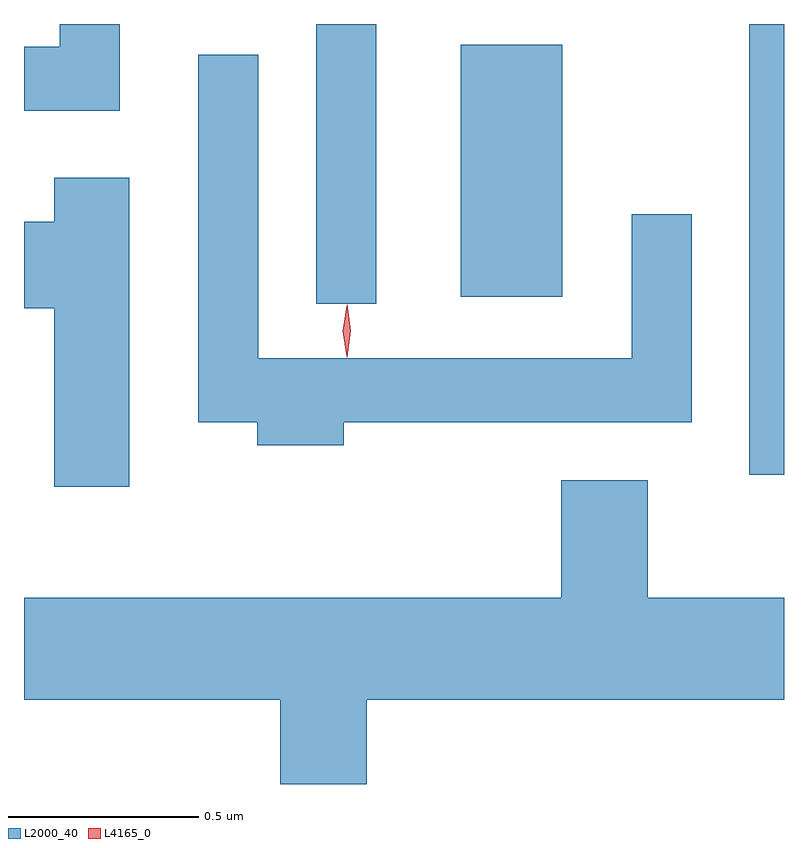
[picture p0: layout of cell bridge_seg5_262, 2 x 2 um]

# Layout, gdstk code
import gdstk
lib = gdstk.Library(unit=1e-6, precision=1e-09)
def R(c, l, rs):  # rectangles x0, y0, x1, y1
    for r in rs: c.add(gdstk.rectangle(r[:2], r[2:], *l))
def P(c, l, *ps):  # polygons
    for p in ps: c.add(gdstk.Polygon(p, *l))
L2000_40 = (2000, 40)
L4165_0 = (4165, 0)

bridge_seg5_262 = lib.new_cell('bridge_seg5_262')
R(bridge_seg5_262, L2000_40, [(1337.486,1432.968,1337.577,1434.154), (1336.346,1433.418,1336.504,1434.154), (1336.726,1433.436,1336.994,1434.099)])
P(bridge_seg5_262, L2000_40, [(1335.829,1434.154),(1335.671,1434.154),(1335.671,1434.094),(1335.577,1434.094),(1335.577,1433.926),(1335.829,1433.926)],
  [(1336.419,1433.106),(1337.334,1433.106),(1337.334,1433.653),(1337.176,1433.653),(1337.176,1433.274),(1336.194,1433.274),(1336.194,1434.073),(1336.036,1434.073),(1336.036,1433.106),(1336.191,1433.106),(1336.191,1433.046),(1336.419,1433.046)],
  [(1335.854,1433.749),(1335.656,1433.749),(1335.656,1433.634),(1335.577,1433.634),(1335.577,1433.406),(1335.656,1433.406),(1335.656,1432.936),(1335.854,1432.936)],
  [(1336.479,1432.376),(1337.577,1432.376),(1337.577,1432.644),(1337.219,1432.644),(1337.219,1432.954),(1336.991,1432.954),(1336.991,1432.644),(1335.577,1432.644),(1335.577,1432.376),(1336.251,1432.376),(1336.251,1432.154),(1336.479,1432.154)])
P(bridge_seg5_262, L4165_0, [(1336.427,1433.277),(1336.427,1433.277),(1336.417,1433.347),(1336.427,1433.416),(1336.427,1433.416),(1336.428,1433.416),(1336.437,1433.347),(1336.428,1433.277)],
  [(1336.426,1433.279),(1336.426,1433.28),(1336.416,1433.346),(1336.426,1433.412),(1336.426,1433.413),(1336.426,1433.412),(1336.436,1433.346),(1336.426,1433.28)])

lib.write_gds('bridge_seg5_262.gds')
